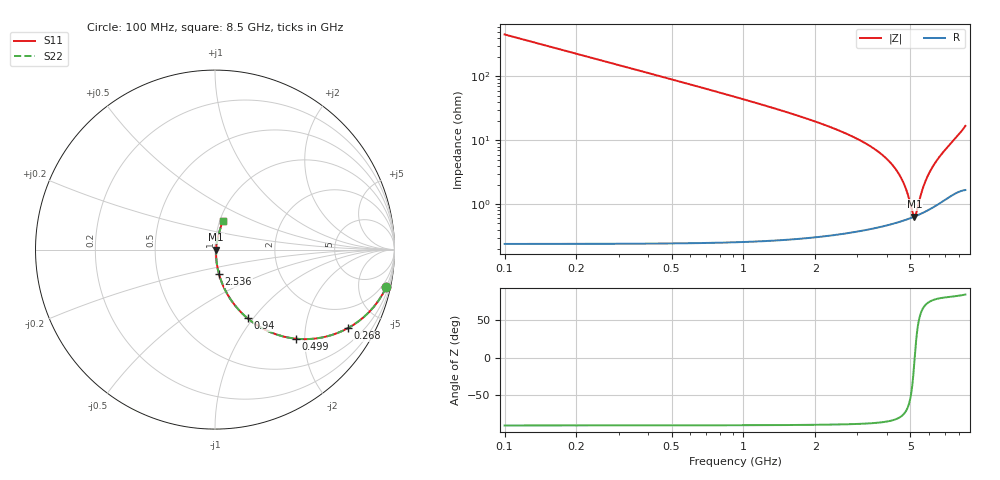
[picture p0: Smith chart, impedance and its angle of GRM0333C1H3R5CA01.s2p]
!Murata Part Number: GRM0333C1H3R5CA01
!These Parameters are Measured in Series Mode Connection
!Data Generated on Mar 30, 2021
!  o--ll--o
!Port1  Port2
!  o------o
!Operation Temp=25[degC], DC Bias Voltage=0[V]
!Freq. Start=100[MHz] Stop=9[GHz] 401[Steps]
# Hz S RI R 50
!Freq.(Hz) S11(Real) S11(Imag) S21(Real) S21(Imag) S12(Real) S12(Imag) S22(Real) S22(Imag)
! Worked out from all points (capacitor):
!   401 points, 100 MHz to 8.5 GHz, reference 50 ohm
!   read as one part in series: C = 3.5 pF near 142 MHz
!   lowest |Z| = 642 mohm at 5.203 GHz (marker M1)
!   series resonance near 5.213 GHz, so ESL is about 270 pH
!   S11 on the Smith chart (normalised r, x): 100 MHz: 1.00, -9.09; 268 MHz: 1.00, -3.39; 499 MHz: 1.00, -1.81; 940 MHz: 1.01, -0.94; 2.536 GHz: 1.01, -0.28; 8.5 GHz: 1.03, +0.33
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1e8  0.9537 -0.2098  0.0463 0.2098  0.0463 0.2098  0.9537 -0.2098
2.05e8  0.8304 -0.3747  0.1696 0.3747  0.1696 0.3747  0.8304 -0.3747
2.68e8  0.741 -0.4374  0.259 0.4374  0.259 0.4374  0.741 -0.4374
3.73e8  0.5954 -0.4898  0.4046 0.4898  0.4046 0.4898  0.5954 -0.4898
4.99e8  0.4497 -0.4961  0.5503 0.4961  0.5503 0.4961  0.4497 -0.4961
7.09e8  0.2853 -0.4496  0.7147 0.4496  0.7147 0.4496  0.2853 -0.4496
9.4e8  0.182 -0.3831  0.818 0.3831  0.818 0.3831  0.182 -0.3831
1.507e9  0.0744 -0.2575  0.9256 0.2575  0.9256 0.2575  0.0744 -0.2575
2.536e9  0.0225 -0.1368  0.9775 0.1368  0.9775 0.1368  0.0225 -0.1368
2.914e9  0.0157 -0.109  0.9843 0.109  0.9843 0.109  0.0157 -0.109
3.733e9  0.00829 -0.0623  0.9917 0.0623  0.9917 0.0623  0.00829 -0.0623
4.3e9  0.00633 -0.0364  0.9937 0.0364  0.9937 0.0364  0.00633 -0.0364
4.72e9  0.00593 -0.0191  0.9941 0.0191  0.9941 0.0191  0.00593 -0.0191
4.888e9  0.00598 -0.0125  0.994 0.0125  0.994 0.0125  0.00598 -0.0125
5.119e9  0.00623 -0.00358  0.9938 0.00358  0.9938 0.00358  0.00623 -0.00358
5.203e9  0.00637 -0.000387  0.9936 0.000387  0.9936 0.000387  0.00637 -0.000387
5.287e9  0.00653 0.00278  0.9935 -0.00278  0.9935 -0.00278  0.00653 0.00278
5.518e9  0.00713 0.0114  0.9929 -0.0114  0.9929 -0.0114  0.00713 0.0114
5.707e9  0.00777 0.0185  0.9922 -0.0185  0.9922 -0.0185  0.00777 0.0185
6.253e9  0.0105 0.0389  0.9895 -0.0389  0.9895 -0.0389  0.0105 0.0389
7.114e9  0.0176 0.0733  0.9824 -0.0733  0.9824 -0.0733  0.0176 0.0733
8.5e9  0.0424 0.1578  0.9576 -0.1578  0.9576 -0.1578  0.0424 0.1578
